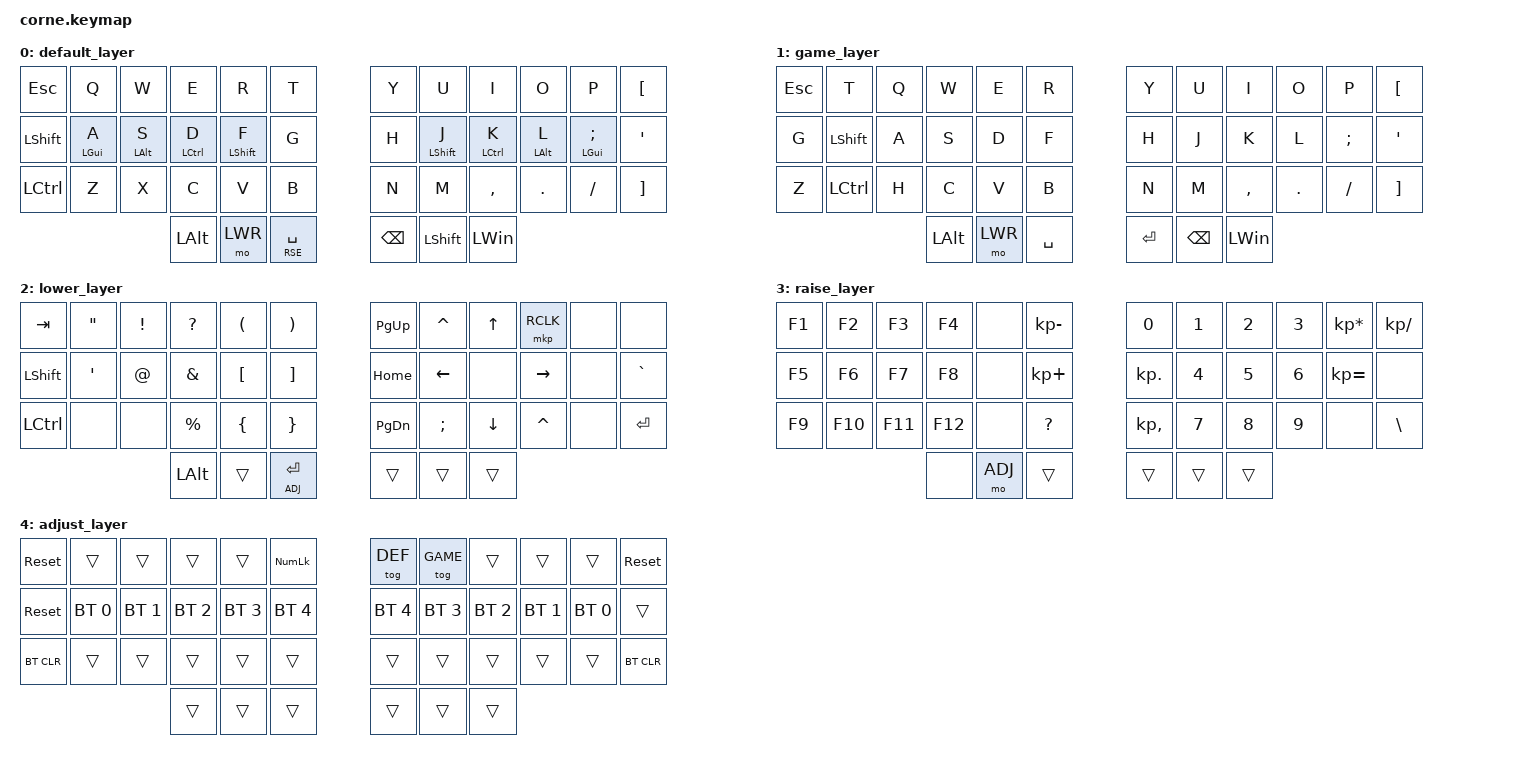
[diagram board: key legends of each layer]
/*
 * Copyright (c) 2020 The ZMK Contributors
 *
 * SPDX-License-Identifier: MIT
 */

#include <dt-bindings/zmk/mouse.h>
#include <behaviors.dtsi>
#include <dt-bindings/zmk/bt.h>
#include <dt-bindings/zmk/keys.h>
#include <dt-bindings/zmk/pointing.h>

#define DEF 0
#define GAME 1
#define LWR 2
#define RSE 3
#define ADJ 4

&lt { quick_tap_ms = <200>; };

&mt { quick_tap_ms = <200>; };

/ {
    behaviors {
        hm: homerow_mods {
            compatible = "zmk,behavior-hold-tap";
            label = "HOMEROW_MODS";
            #binding-cells = <2>;
            tapping-term-ms = <200>;
            quick_tap_ms = <0>;
            flavor = "tap-preferred";
            bindings = <&kp>, <&kp>;
        };
    };
};

/ {
    combos {
        compatible = "zmk,combos";

        combo_F2 {
            timeout-ms = <50>;
            key-positions = <0 1>;
            bindings = <&kp F2>;
        };

        combo_ENTER {
            timeout-ms = <50>;
            key-positions = <3 4>;
            bindings = <&kp ENTER>;
        };

        combo_Del {
            timeout-ms = <50>;
            key-positions = <30 31>;
            bindings = <&kp DEL>;
        };

        Ctrl_Left {
            bindings = <&kp LC(LEFT_ARROW)>;
            key-positions = <19 20>;
        };

        Ctrl-Right {
            bindings = <&kp LC(RIGHT_ARROW)>;
            key-positions = <20 21>;
        };

        End {
            bindings = <&kp END>;
            key-positions = <22 23>;
        };
    };
};

/ {
    keymap {
        compatible = "zmk,keymap";

        default_layer {
            // .-------------------------------------------------------.       .-----------------------------------------------------------.
            // |  ESC  |    Q    |    W   |   E    |    R    |    T    |       |   Y   |    U    |    I    |    O    |     P    |     [    |
            // |-------+---------+--------+--------+---------+---------|       |-------+---------+---------+---------+----------+----------|
            // |  SHFT |    A    |    S   |   D    |    F    |    G    |       |   H   |    J    |    K    |    L    |     ;    |     '    |
            // |-------+---------+--------+--------+---------+---------|       |-------+---------+---------+---------+----------+----------|
            // |  CTRL |    Z    |    X   |   C    |    V    |    B    |       |   N   |    M    |    ,    |    .    |     /    |     ]    |
            // '--------------------------+--------+---------+---------+       |-------+---------+---------+-------------------------------'
            //                            |  ALT   |   LWR   | RSE/SPC |       |  RET  |   BKSP  |   GUI   |
            //                            '--------+---------+---------'       '-------+---------+---------'

            bindings = <
&kp ESC    &kp Q       &kp W       &kp E        &kp R        &kp T            &kp Y     &kp U           &kp I        &kp O       &kp P          &kp LBKT
&kp LSHFT  &hm LGUI A  &hm LALT S  &hm LCTRL D  &hm LSHFT F  &kp G            &kp H     &hm LSHFT J     &hm LCTRL K  &hm LALT L  &hm LGUI SEMI  &kp SQT
&kp LCTRL  &kp Z       &kp X       &kp C        &kp V        &kp B            &kp N     &kp M           &kp COMMA    &kp DOT     &kp FSLH       &kp RBKT
                                   &kp LALT     &mo LWR      &lt RSE SPACE    &kp BSPC  &kp LEFT_SHIFT  &kp LWIN
            >;
        };

        game_layer {
            // .-------------------------------------------------------.       .-----------------------------------------------------------.
            // |  ESC  |    T    |    Q   |   W    |    E    |    R    |       |   Y   |    U    |    I    |    O    |     P    |     [    |
            // |-------+---------+--------+--------+---------+---------|       |-------+---------+---------+---------+----------+----------|
            // |   G   |   SHFT  |    A   |   S    |    D    |    F    |       |   H   |    J    |    K    |    L    |     ;    |     '    |
            // |-------+---------+--------+--------+---------+---------|       |-------+---------+---------+---------+----------+----------|
            // |   Z   |   CTRL  |    H   |   C    |    V    |    B    |       |   N   |    M    |    ,    |    .    |     /    |     ]    |
            // '--------------------------+--------+---------+---------+       |-------+---------+---------+-------------------------------'
            //                            |  ALT   |   LWR   |   SPC   |       |  RET  |   BKSP  |   GUI   |
            //                            '--------+---------+---------'       '-------+---------+---------'

            bindings = <
&kp ESC  &kp T      &kp Q  &kp W     &kp E    &kp R        &kp Y      &kp U     &kp I      &kp O    &kp P     &kp LBKT
&kp G    &kp LSHFT  &kp A  &kp S     &kp D    &kp F        &kp H      &kp J     &kp K      &kp L    &kp SEMI  &kp SQT
&kp Z    &kp LCTRL  &kp H  &kp C     &kp V    &kp B        &kp N      &kp M     &kp COMMA  &kp DOT  &kp FSLH  &kp RBKT
                           &kp LALT  &mo LWR  &kp SPACE    &kp ENTER  &kp BSPC  &kp LWIN
            >;
        };

        lower_layer {
            // .----------------------------------------------------------.       .-----------------------------------------------------.
            // |    TAB    |   1    |   2    |   3    |    4    |    5     |       |    ^   |    &   |    *    |    (   |    )   |  DEL  |
            // |-----------+--------+--------+--------+---------+----------|       |--------+--------+---------+--------+--------+-------|
            // |    SHFT   |   F4   |  LEFT  |   UP   |  RIGHT  |   HOME   |       | vol up |  mute  |  vol dn |        |        |   ~   |
            // |-----------+--------+--------+--------+---------+----------|       |--------+--------+---------+--------+--------+-------|
            // |    CTRL   | CTRL+N |   PU   |  DOWN  |    PD   |   END    |       |  prev  |  play  |   next  |        |        |   \   |
            // '-----------------------------+--------+---------+----------+       |--------+--------+---------+-------------------------'
            //                               |  ALT   |         |ADJ_ENTER |       |        |        |         |
            //                               '--------+---------+----------'       '--------+--------+---------'

            bindings = <
&kp TAB    &kp DOUBLE_QUOTES  &kp EXCLAMATION  &kp QUESTION   &kp LPAR          &kp RPAR             &kp PAGE_UP    &kp CARET      &kp UP_ARROW    &mkp RCLK  &none  &none
&kp LSHFT  &kp APOS           &kp AT_SIGN      &kp AMPERSAND  &kp LEFT_BRACKET  &kp RIGHT_BRACKET    &kp HOME       &kp LEFT       &none           &kp RIGHT  &none  &kp GRAVE
&kp LCTRL  &none              &none            &kp PERCENT    &kp LEFT_BRACE    &kp RIGHT_BRACE      &kp PAGE_DOWN  &kp SEMICOLON  &kp DOWN_ARROW  &kp CARET  &none  &kp RET
                                               &kp LALT       &trans            &lt ADJ ENTER        &trans         &trans         &trans
            >;
        };

        raise_layer {
            // .------------------------------------------------------.       .-----------------------------------------------------.
            // |   F2    |    *   |    1   |    2   |    3   |    -   |       |        |   F1   |   F2   |   F3   |   F4   |   DEL  |
            // |---------+--------+--------+--------+--------+--------|       |--------+--------+--------+--------+--------+--------|
            // |   SHFT  |    /   |    4   |    5   |    6   |    +   |       |        |   F5   |   F6   |   F7   |   F8   |    ~   |
            // |---------+--------+--------+--------+--------+--------|       |--------+--------+--------+--------+--------+--------|
            // |   CTRL  |    =   |    7   |    8   |    9   |    .   |       |        |   F9   |   F10  |   F11  |   F12  |    \   |
            // '---------------------------+--------+--------+--------+       |-------+---------+--------+--------------------------'
            //                             |    0   |   ADJ  |        |       |        |        |        |
            //                             '--------+--------+--------'       '--------+--------+--------'

            bindings = <
&kp F1  &kp F2   &kp F3   &kp F4   &none    &kp KP_MINUS    &kp NUMBER_0  &kp NUMBER_1  &kp NUMBER_2  &kp NUMBER_3  &kp KP_MULTIPLY  &kp KP_DIVIDE
&kp F5  &kp F6   &kp F7   &kp F8   &none    &kp KP_PLUS     &kp KP_DOT    &kp NUMBER_4  &kp N5        &kp NUMBER_6  &kp KP_EQUAL     &none
&kp F9  &kp F10  &kp F11  &kp F12  &none    &kp QUESTION    &kp KP_COMMA  &kp N7        &kp N8        &kp N9        &none            &kp BSLH
                          &none    &mo ADJ  &trans          &trans        &trans        &trans
            >;
        };

        adjust_layer {
            // .--------------------------------------------------------.       .------------------------------------------------------.
            // |  reset  |        |        |        |         |  KP_NUM |       |  DEF   |  GAME  |        |        |        |  reset  |
            // |---------+--------+--------+--------+---------+---------|       |--------+--------+--------+--------+--------+---------|
            // |         |  BT1   |  BT2   |  BT3   |  BT4    |  BT5    |       |  BT5   |  BT4   |  BT3   |  BT2   |  BT1   |         |
            // |---------+--------+--------+--------+---------+---------|       |--------+--------+--------+--------+--------+---------|
            // |  BTCLR  |        |        |        |         |         |       |        |        |        |        |        |  BTCLR  |
            // '---------------------------+--------+---------+---------+       |--------+--------+--------+---------------------------'
            //                             |        |         |         |       |        |        |        |
            //                             '--------+---------+---------'       '--------+--------+--------'

            bindings = <
&sys_reset  &trans        &trans        &trans        &trans        &kp KP_NUM      &tog DEF      &tog GAME     &trans        &trans        &trans        &sys_reset
&sys_reset  &bt BT_SEL 0  &bt BT_SEL 1  &bt BT_SEL 2  &bt BT_SEL 3  &bt BT_SEL 4    &bt BT_SEL 4  &bt BT_SEL 3  &bt BT_SEL 2  &bt BT_SEL 1  &bt BT_SEL 0  &trans
&bt BT_CLR  &trans        &trans        &trans        &trans        &trans          &trans        &trans        &trans        &trans        &trans        &bt BT_CLR
                                        &trans        &trans        &trans          &trans        &trans        &trans
            >;
        };
    };
};
